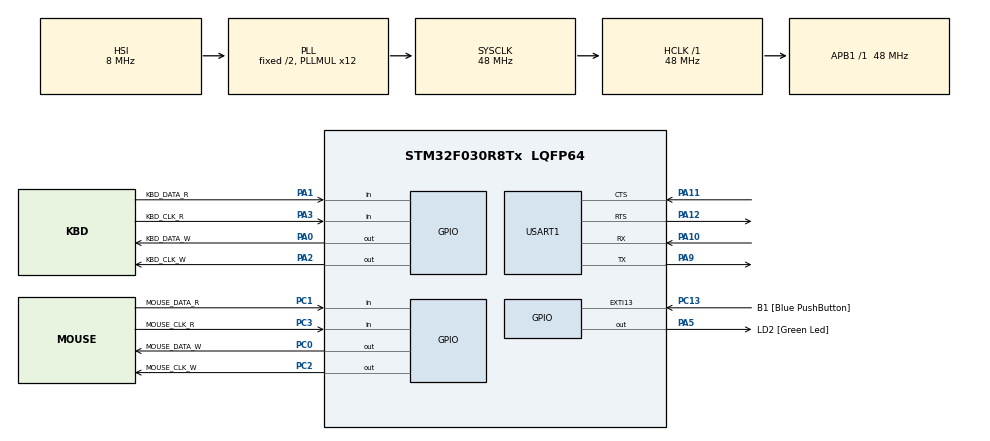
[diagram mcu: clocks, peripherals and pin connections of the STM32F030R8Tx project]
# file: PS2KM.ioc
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Mcu.Family=STM32F0
Mcu.Name=STM32F030R8Tx
Mcu.Package=LQFP64
PA0.GPIO_Label=KBD_DATA_W
PA0.Signal=GPIO_Output
PA1.GPIO_Label=KBD_DATA_R
PA1.Signal=GPIO_Input
PA10.Mode=Asynchronous
PA10.Signal=USART1_RX
PA11.Mode=CTS_RTS
PA11.Signal=USART1_CTS
PA12.Mode=CTS_RTS
PA12.Signal=USART1_RTS
PA13.Mode=Serial_Wire
PA13.Signal=SYS_SWDIO
PA14.Mode=Serial_Wire
PA14.Signal=SYS_SWCLK
PA2.GPIO_Label=KBD_CLK_W
PA2.Signal=GPIO_Output
PA3.GPIO_Label=KBD_CLK_R
PA3.Signal=GPIO_Input
PA5.GPIO_Label=LD2 [Green Led]
PA5.GPIO_Mode=GPIO_MODE_OUTPUT_PP
PA5.GPIO_PuPd=GPIO_NOPULL
PA5.GPIO_Speed=GPIO_SPEED_FREQ_LOW
PA5.Signal=GPIO_Output
PA9.Mode=Asynchronous
PA9.Signal=USART1_TX
PC0.GPIO_Label=MOUSE_DATA_W
PC0.Signal=GPIO_Output
PC1.GPIO_Label=MOUSE_DATA_R
PC1.Signal=GPIO_Input
PC13.GPIO_Label=B1 [Blue PushButton]
PC13.GPIO_ModeDefaultEXTI=GPIO_MODE_EVT_RISING
PC13.Signal=GPXTI13
PC14-OSC32_IN.Signal=RCC_OSC32_IN
PC15-OSC32_OUT.Signal=RCC_OSC32_OUT
PC2.GPIO_Label=MOUSE_CLK_W
PC2.Signal=GPIO_Output
PC3.GPIO_Label=MOUSE_CLK_R
PC3.Signal=GPIO_Input
PF0-OSC_IN.Signal=RCC_OSC_IN
PF1-OSC_OUT.Signal=RCC_OSC_OUT
ProjectManager.HeapSize=0x200
ProjectManager.StackSize=0x400
ProjectManager.TargetToolchain=EWARM
RCC.AHBFreq_Value=48000000
RCC.APB1Freq_Value=48000000
RCC.APB1TimFreq_Value=48000000
RCC.HCLKFreq_Value=48000000
RCC.PLLMUL=RCC_PLL_MUL12
RCC.SYSCLKFreq_VALUE=48000000
RCC.SYSCLKSource=RCC_SYSCLKSOURCE_PLLCLK
VP_WWDG_VS_WWDG.Mode=WWDG_Activate
board=NUCLEO-F030R8

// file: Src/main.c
/* vim:set ts=4 sw=4: */
/**
  ******************************************************************************
  * File Name          : main.c
  * Description        : Main program body
  ******************************************************************************
  *
  * COPYRIGHT(c) 2016 STMicroelectronics
  *
  * Redistribution and use in source and binary forms, with or without modification,
  * are permitted provided that the following conditions are met:
  *   1. Redistributions of source code must retain the above copyright notice,
  *      this list of conditions and the following disclaimer.
  *   2. Redistributions in binary form must reproduce the above copyright notice,
  *      this list of conditions and the following disclaimer in the documentation
  *      and/or other materials provided with the distribution.
  *   3. Neither the name of STMicroelectronics nor the names of its contributors
  *      may be used to endorse or promote products derived from this software
  *      without specific prior written permission.
  *
  * THIS SOFTWARE IS PROVIDED BY THE COPYRIGHT HOLDERS AND CONTRIBUTORS "AS IS"
  * AND ANY EXPRESS OR IMPLIED WARRANTIES, INCLUDING, BUT NOT LIMITED TO, THE
  * IMPLIED WARRANTIES OF MERCHANTABILITY AND FITNESS FOR A PARTICULAR PURPOSE ARE
  * DISCLAIMED. IN NO EVENT SHALL THE COPYRIGHT HOLDER OR CONTRIBUTORS BE LIABLE
  * FOR ANY DIRECT, INDIRECT, INCIDENTAL, SPECIAL, EXEMPLARY, OR CONSEQUENTIAL
  * DAMAGES (INCLUDING, BUT NOT LIMITED TO, PROCUREMENT OF SUBSTITUTE GOODS OR
  * SERVICES; LOSS OF USE, DATA, OR PROFITS; OR BUSINESS INTERRUPTION) HOWEVER
  * CAUSED AND ON ANY THEORY OF LIABILITY, WHETHER IN CONTRACT, STRICT LIABILITY,
  * OR TORT (INCLUDING NEGLIGENCE OR OTHERWISE) ARISING IN ANY WAY OUT OF THE USE
  * OF THIS SOFTWARE, EVEN IF ADVISED OF THE POSSIBILITY OF SUCH DAMAGE.
  *
  ******************************************************************************
  */
#include "main.h"

/* USER CODE BEGIN Includes */
uint32_t m_ticks = 0 , m_step= 0 , m_index = 0 ;
uint32_t k_ticks = 0 , k_step= 0 , k_index = 0 ;
/* USER CODE END Includes */

/* USER CODE BEGIN PV */
/* Private variables ---------------------------------------------------------*/
__IO uint8_t BlinkSpeed = 1 ;
IWDG_HandleTypeDef IwdgHandle ;
/* USER CODE END PV */

void SystemClock_Config(void) ;
void Error_Handler(void) ;
static void MX_GPIO_Init(void) ;
static void MX_USART1_UART_Init(void) ;
/* USER CODE BEGIN PFP */
/* Private function prototypes -----------------------------------------------*/

/* USER CODE END PFP */

int main(void)
{

  /* MCU Configuration----------------------------------------------------------*/

  /* Reset of all peripherals, Initializes the Flash interface and the Systick. */
  HAL_Init();

  /* Configure the system clock */
  SystemClock_Config();

  /* Initialize all configured peripherals */
  MX_GPIO_Init();
  MX_USART1_UART_Init();

  /*##-1- Check if the system has resumed from IWDG reset ####################*/
  if (__HAL_RCC_GET_FLAG(RCC_FLAG_IWDGRST) != RESET) {
  }
  else {
  }

  /*##-2- Get the LSI frequency: TIM14 is used to measure the LSI frequency ###*/
  /*  uwLsiFreq = GetLSIFrequency();  */

  /*##-3- Configure the IWDG peripheral ######################################*/
  /* Set counter reload value to obtain 250ms IWDG TimeOut.
     IWDG counter clock Frequency = LsiFreq / 32
     Counter Reload Value = 250ms / IWDG counter clock period
                          = 0.25s / (32/LsiFreq)
                          = LsiFreq / (32 * 4)
                          = LsiFreq / 128 */
  IwdgHandle.Instance = IWDG;

  IwdgHandle.Init.Prescaler = IWDG_PRESCALER_32;
  IwdgHandle.Init.Reload    = 43608 / 128;
  IwdgHandle.Init.Window    = IWDG_WINDOW_DISABLE;

  if (HAL_IWDG_Init(&IwdgHandle) != HAL_OK)
  {
    /* Initialization Error */
    Error_Handler();
  }

  /*##-4- Start the IWDG #####################################################*/
  if (HAL_IWDG_Start(&IwdgHandle) != HAL_OK)
  {
    Error_Handler();
  }

  clear_sio_env () ;
  clear_mouse_env() ;
  clear_KBD_env() ;
  /* finished reset CP210x */
  HAL_GPIO_WritePin ( GPIOB , CP210x_RESET , GPIO_PIN_SET ) ;

  /* enable clk fall interrupt ,start to receive reset(0xff) command */
  //HAL_NVIC_EnableIRQ(MOUSE_CLK_EXTI_IRQn);
  /* in 30/09/2016, I think this work should be down by clk interrupt */
  /* USER CODE END 2 */

  /* Infinite loop */
  while (1)
  {
      /* USER CODE BEGIN 3 */
#ifndef KBD_DEBUG
      mouse_ctrl() ;
#endif
      KBD_ctrl() ;
      process_command() ;
      if ( HAL_IWDG_Refresh(&IwdgHandle) != HAL_OK ) {
          /* Refresh Error */
          Error_Handler();
      }
  }
      /* USER CODE END 3 */
}

/** System Clock Configuration
*/
void SystemClock_Config(void)
{

  RCC_OscInitTypeDef RCC_OscInitStruct;
  RCC_ClkInitTypeDef RCC_ClkInitStruct;
  RCC_PeriphCLKInitTypeDef PeriphClkInit;

  RCC_OscInitStruct.OscillatorType = RCC_OSCILLATORTYPE_HSI;
  RCC_OscInitStruct.HSIState = RCC_HSI_ON;
  RCC_OscInitStruct.HSICalibrationValue = 16;
  RCC_OscInitStruct.PLL.PLLState = RCC_PLL_ON;
  RCC_OscInitStruct.PLL.PLLSource = RCC_PLLSOURCE_HSI;
  RCC_OscInitStruct.PLL.PLLMUL = RCC_PLL_MUL12;
  RCC_OscInitStruct.PLL.PREDIV = RCC_PREDIV_DIV1;
  if (HAL_RCC_OscConfig(&RCC_OscInitStruct) != HAL_OK)
  {
    Error_Handler();
  }

  RCC_ClkInitStruct.ClockType = RCC_CLOCKTYPE_HCLK|RCC_CLOCKTYPE_SYSCLK
                              |RCC_CLOCKTYPE_PCLK1;
  RCC_ClkInitStruct.SYSCLKSource = RCC_SYSCLKSOURCE_PLLCLK;
  RCC_ClkInitStruct.AHBCLKDivider = RCC_SYSCLK_DIV1;
  RCC_ClkInitStruct.APB1CLKDivider = RCC_HCLK_DIV1;
  if (HAL_RCC_ClockConfig(&RCC_ClkInitStruct, FLASH_LATENCY_1) != HAL_OK)
  {
    Error_Handler();
  }

  PeriphClkInit.PeriphClockSelection = RCC_PERIPHCLK_USART1;
  PeriphClkInit.Usart1ClockSelection = RCC_USART1CLKSOURCE_PCLK1;
  if (HAL_RCCEx_PeriphCLKConfig(&PeriphClkInit) != HAL_OK)
  {
    Error_Handler();
  }

  HAL_SYSTICK_Config(HAL_RCC_GetHCLKFreq()/100000);

  HAL_SYSTICK_CLKSourceConfig(SYSTICK_CLKSOURCE_HCLK);

  /* SysTick_IRQn interrupt configuration */
  HAL_NVIC_SetPriority(SysTick_IRQn, 0, 0);
}

/* USART1 init function */
static void MX_USART1_UART_Init(void)
{

  huart1.Instance = USART1;
  huart1.Init.BaudRate = 115200 /*38400*/ ;
  huart1.Init.WordLength = UART_WORDLENGTH_8B;
  huart1.Init.StopBits = UART_STOPBITS_1;
  huart1.Init.Parity = UART_PARITY_NONE;
  huart1.Init.Mode = UART_MODE_TX_RX;
  huart1.Init.HwFlowCtl = /*UART_HWCONTROL_NONE */UART_HWCONTROL_RTS_CTS ;
  //huart1.Init.OverSampling = UART_OVERSAMPLING_16;
  //huart1.Init.OneBitSampling = UART_ONE_BIT_SAMPLE_DISABLE;
  huart1.AdvancedInit.AdvFeatureInit = UART_ADVFEATURE_NO_INIT;
  if(HAL_UART_DeInit(&huart1) != HAL_OK)
  {
    Error_Handler();
  }
  if (HAL_UART_Init(&huart1) != HAL_OK)
  {
    Error_Handler();
  }

}

/** Configure pins as
        * Analog
        * Input
        * Output
        * EVENT_OUT
        * EXTI
*/
static void MX_GPIO_Init(void)
{

  GPIO_InitTypeDef GPIO_InitStruct;

  /* GPIO Ports Clock Enable */
  __HAL_RCC_GPIOC_CLK_ENABLE();
  __HAL_RCC_GPIOF_CLK_ENABLE();
  __HAL_RCC_GPIOA_CLK_ENABLE();

  GPIO_InitStruct.Pin = CP210x_RESET ;
  GPIO_InitStruct.Mode = GPIO_MODE_OUTPUT_PP;
  GPIO_InitStruct.Pull = GPIO_NOPULL;
  GPIO_InitStruct.Speed = GPIO_SPEED_FREQ_LOW;
  HAL_GPIO_Init(GPIOB, &GPIO_InitStruct);
  /* Reset CP210x */
  HAL_GPIO_WritePin ( GPIOB , CP210x_RESET , GPIO_PIN_RESET ) ;

  GPIO_InitStruct.Pin = CP210x_SUSPEND_N|CP210x_SUSPEND ;
  GPIO_InitStruct.Mode = GPIO_MODE_INPUT;
  GPIO_InitStruct.Pull = GPIO_NOPULL;
  HAL_GPIO_Init(GPIOB, &GPIO_InitStruct);

  /*Configure GPIO pins : MOUSE_DATA_W_Pin MOUSE_CLK_W_Pin */
  GPIO_InitStruct.Pin = MOUSE_DATA_W_Pin|MOUSE_CLK_W_Pin;
  GPIO_InitStruct.Mode = GPIO_MODE_OUTPUT_PP;
  GPIO_InitStruct.Pull = GPIO_NOPULL;
  GPIO_InitStruct.Speed = GPIO_SPEED_FREQ_LOW;
  HAL_GPIO_Init(GPIOC, &GPIO_InitStruct);
  /* release clock and data line */
  m_write_clk(GPIO_PIN_SET) ;
  m_write_data(GPIO_PIN_SET) ;

  /*Configure GPIO pins : MOUSE_DATA_R_Pin MOUSE_CLK_R_Pin */
  GPIO_InitStruct.Pin = MOUSE_DATA_R_Pin;
  GPIO_InitStruct.Mode = GPIO_MODE_INPUT;
  GPIO_InitStruct.Pull = GPIO_PULLUP;
  HAL_GPIO_Init(GPIOC, &GPIO_InitStruct);
  /* define the clk pin as a interrupt line ,but I'm not very
     convinced that it can work ,incase GPIO_MODE_INPUT is 0x0000
     so this "GPIO_MODE_INPUT | GPIO_MODE_IT_FALLING" is shit*/
  GPIO_InitStruct.Pin = MOUSE_CLK_R_Pin;
  GPIO_InitStruct.Mode = GPIO_MODE_INPUT | GPIO_MODE_IT_FALLING ;
  GPIO_InitStruct.Pull = GPIO_PULLUP;
  HAL_GPIO_Init(GPIOC, &GPIO_InitStruct);

  /*Configure GPIO pins : KBD_DATA_W_Pin KBD_CLK_W_Pin LD2_Pin */
  GPIO_InitStruct.Pin = KBD_DATA_W_Pin|KBD_CLK_W_Pin;
  GPIO_InitStruct.Mode = GPIO_MODE_OUTPUT_PP;
  GPIO_InitStruct.Pull = GPIO_NOPULL;
  GPIO_InitStruct.Speed = GPIO_SPEED_FREQ_LOW;
  HAL_GPIO_Init(GPIOA, &GPIO_InitStruct);
  k_write_clk(GPIO_PIN_SET) ;
  k_write_data(GPIO_PIN_SET) ;

  /*Configure GPIO pins : KBD_DATA_R_Pin KBD_CLK_R_Pin */
  GPIO_InitStruct.Pin = KBD_DATA_R_Pin;
  GPIO_InitStruct.Mode = GPIO_MODE_INPUT;
  GPIO_InitStruct.Pull = GPIO_PULLUP;
  HAL_GPIO_Init(GPIOA, &GPIO_InitStruct);

  GPIO_InitStruct.Pin = KBD_CLK_R_Pin;
  GPIO_InitStruct.Mode = GPIO_MODE_INPUT | GPIO_MODE_IT_FALLING ;
  GPIO_InitStruct.Pull = GPIO_PULLUP;
  HAL_GPIO_Init(GPIOA, &GPIO_InitStruct);

#if 0
  /*Configure GPIO pin Output Level */
  HAL_GPIO_WritePin(GPIOC, MOUSE_DATA_W_Pin|MOUSE_CLK_W_Pin, GPIO_PIN_RESET);

  /*Configure GPIO pin Output Level */
  HAL_GPIO_WritePin(GPIOA, KBD_DATA_W_Pin|KBD_CLK_W_Pin|LD2_Pin, GPIO_PIN_RESET);

  /* set mouse and KBD CLK line EXTI Interruptto the lowest
     priority */
  HAL_NVIC_SetPriority(KBD_CLK_EXTI_IRQn, 0x03, 0x00);
  HAL_NVIC_SetPriority(MOUSE_CLK_EXTI_IRQn, 0x03, 0x00);

  /* Enable Interrupt ,wait ...not now */
  HAL_NVIC_EnableIRQ(KBD_CLK_EXTI_IRQn);
  HAL_NVIC_EnableIRQ(MOUSE_CLK_EXTI_IRQn);
#endif

}

/* USER CODE BEGIN 4 */
void HAL_SYSTICK_Callback(void)
{
    static uint32_t m_count , k_count ;
#ifndef KBD_DEBUG
    switch ( m_trans) {     /* process mouse transfer */
        case idle:
            if ( m_read_clk() == GPIO_PIN_SET ) {
                if ( m_ticks == 0 ) {
                    switch ( m_load.content ) {
                        case standby:
                            /* clear trans environment variables */
                            m_count = 0 ;
                            break ;
                        case answer:
                        case report:
                            /* ready for device to host trans */
                            if ( m_count < m_load.load_buf[8] ) {
                                m_data.d = m_load.load_buf[m_count] ;
                                m_data.parity = 0 ;
                                /*TODO: m_count should increase after an byte has
                                 * been sent sucessful */
                                m_load.done = 0 ;
                                /* double check clk line is high */
                                m_write_clk( 1 ) ;
                                m_clk.level = HIGH ;
                                m_ticks = 4 ;
                                m_trans = start_bit ;
                            }
                            else {
                                m_count = 0 ;
                                m_load.done = 1 ;
                                m_load.load_buf[8] = 0 ;
                                /* need change out of interrupt */
                                //m_load.content = standby ;
                            }
                            break ;
                    }
                }
                else --m_ticks ;
            }
            else {
                /* host pull down the clk, communication has been inhibited*/
                m_write_data( 1 ) ;
                m_ticks = 10 ;
                m_step = 0 ;
                /*m_count = 0 ;*/
                m_trans = inhibit ;
            }
            break ;
        case inhibit:
            switch ( m_step ) {
                case 0:
                    /* m_step 0 whait for clk line keep low for at least 100 us */
                    if ( --m_ticks > 0 ) {
                        if ( m_read_clk() == GPIO_PIN_SET ) {
                            m_trans = idle ;
                            m_ticks = 0 ;
                        }
                        else if ( m_read_data() == GPIO_PIN_RESET ) {
                            m_ticks = 0 ;
                            m_step = 2 ;
                        }
                    }
                    else {
                        /*m_count = 0 ; */ /* anyway , answer & report must terminate*/
                        /* FIXME: should clean load_buf and let routine knows a
                         * transfer fail */
                        if ( m_read_clk() == GPIO_PIN_RESET ) {
                            /* check for clk keep a low level at least 100 us */
                            m_step++ ;
                        }
                        else {
                            m_trans = idle ;
                            m_ticks = 0 ;
                        }
                    }
                    break ;
                case 1:
                    /*
                     * m_step 1 wait for data line fall to low ,and clk must keep low
                     * */
                    if ( m_read_clk() == GPIO_PIN_SET ) {
                        m_trans = idle ;
                        m_ticks = 0 ;
                        /*m_step = 0 ;*/
                    }
                    else if ( m_read_data() == GPIO_PIN_RESET ) {
                        /* got a host command start condition */
                        m_step++ ;  /* next step ,wait for clk rise to high */
                    }
                    break ;
                case 2:
                    /*
                     * m_step 2 wait for clk rise to high , thus the start
                     * condition is meet
                     * */
                    m_count = 0 ;  /* anyway , answer & report must terminate*/
                    if (( m_read_clk() == GPIO_PIN_SET ) &&
                        ( m_read_data() == GPIO_PIN_RESET )) {
                        m_load.content = command ;
                        m_load.done = 0 ;
                        m_data = (data_package){ 0 ,0 , 0 ,} ;
                        m_trans = start_bit ;
                        m_ticks = 4 ;
                        m_step = 0 ;
                        m_clk.level = HIGH ;
                    }
                    break ;
                default:
                    break ;
            }
            break ;

        case start_bit:
            switch ( m_load.content ) {
                case command:
                    /*
                     * receiving an command
                     * */
                    if ( --m_ticks == 0 ) {
                        m_write_clk( 0 ) ;
                        m_clk.level = LOW ;
                        m_ticks = 4 ;
                        m_step = 0 ;
                        m_trans = significant_bit ;
                    }
                    break ;

                case answer:
                case report:
                    if( m_clk.level == HIGH ) { /* set start bit */
                        --m_ticks ;
                        if ( m_ticks == 1 ) m_write_data( 0 ) ;
                        else if ( m_ticks == 0 ) {
                            m_write_clk( 0 ) ;
                            m_clk.level = LOW ;
                            m_ticks = 4 ;
                        }
                    }
                    else {  /* data line is high means start bit fault */
                        if ( --m_ticks == 0 ) {
                            m_write_clk ( 1 ) ;
                            m_clk.level = HIGH ;
                            m_ticks = 4 ;
                            m_step = 0 ;
                            m_trans = significant_bit ;
                        }
                    }
                    break ;
                default:
                    //error condition
                    break ;
            }
            break ;

        case significant_bit:
            switch ( m_load.content ) {
                case command:
                    if ( --m_ticks == 0 ) {
                        if ( m_clk.level == LOW ) {
                            m_write_clk(1) ;
                            m_clk.level = HIGH ;
                            m_ticks = 4 ;
                            m_data.d |= (((m_read_data()) & 1 ) << m_step ) ;
                        }
                        else {
                            m_write_clk( 0 ) ;
                            m_clk.level = LOW ;
                            m_ticks = 4 ;
                            if ( ++m_step >= 8 ) {
                                m_trans = parity_bit ;
                                m_step = 0 ;
                            }
                        }
                    }
                    break ;
                case answer:
                case report:
                    if( m_clk.level == HIGH ) { /* set start bit */
                        --m_ticks ;
                        if ( m_ticks == 1 ) {
                            m_write_data ( m_data.d & 1 ) ;
                            m_data.parity += m_data.d & 1 ;
                            m_data.d >>= 1 ;
                        }
                        else if ( m_ticks == 0 ) {
                            m_write_clk( 0 ) ;
                            m_clk.level = LOW ;
                            m_ticks = 4 ;
                        }
                    }
                    else {  /* data line is high means start bit fault */
                        if ( --m_ticks == 0 ) {
                            m_write_clk ( 1 ) ;
                            m_clk.level = HIGH ;
                            m_ticks = 4 ;
                            if ( ++m_step >= 8 ) {
                                m_trans = parity_bit ;
                                m_step = 0 ;
                            }
                        }
                    }
                    break ;
                default:
                    break ;
                    //error condition
            }
            break ;

        case parity_bit:
            switch ( m_load.content ) {
                case command:
                    if ( --m_ticks == 0 ) {
                        if ( m_clk.level == LOW ) {
                            m_write_clk(1) ;
                            m_clk.level = HIGH ;
                            m_ticks = 4 ;
                            m_data.parity = m_data.d ;
                            m_data.valid = 0 ;
                            while ( m_data.parity ) {
                                m_data.parity &= ( m_data.parity-1 ) ;
                                m_data.valid++ ;
                            }
                            if ((m_data.valid & 1 ) != ((m_read_data()) & 1 )) {
                                m_data.valid = 1 ;
                            }
                            else m_data.valid = 0 ;
                        }
                        else {
                            m_write_clk( 0 ) ;
                            m_clk.level = LOW ;
                            m_ticks = 4 ;
                            m_trans = stop_bit ;
                        }
                    }
                    break ;

                case answer:
                case report:
                    if( m_clk.level == HIGH ) { /* set start bit */
                        --m_ticks ;
                        if ( m_ticks == 1 ) {
                            m_write_data (( m_data.parity & 1 ) ? 0 : 1 ) ;
                        }
                        else if ( m_ticks == 0 ) {
                            m_write_clk( 0 ) ;
                            m_clk.level = LOW ;
                            m_ticks = 4 ;
                        }
                    }
                    else {
                        if ( --m_ticks == 0 ) {
                            m_write_clk ( 1 ) ;
                            m_clk.level = HIGH ;
                            m_ticks = 4 ;
                            m_trans = stop_bit ;
                        }
                    }
                    break ;

                default:
                    //error condition
                    break ;
            }
            break ;

        case stop_bit :
            switch ( m_load.content ) {
                case command:
                    if ( m_clk.level == HIGH ) {
                        --m_ticks ;
                        if ( m_ticks == 1 ) m_write_data( 0 ) ;
                        else if ( m_ticks == 0 ) {
                            m_write_clk( 0 ) ;
                            m_clk.level = LOW ;
                            m_ticks = 4 ;
                            m_trans = ack_bit ;
                        }
                        /*TODO: Read stop bit here ,but I don`t think it was necessary
                         *      just generate clock */
                    }
                    else {
                        if ( --m_ticks == 0 ) {
                            m_write_clk( 1 ) ;
                            m_clk.level = HIGH ;
                            m_ticks = 4 ;
                        }
                    }
                    break ;

                case answer:
                case report:
                    if( m_clk.level == HIGH ) { /* set stoop bit */
                        --m_ticks ;
                        if ( m_ticks == 1 ) m_write_data( 1 ) ;
                        else if ( m_ticks == 0 ) {
                            m_write_clk( 0 ) ;
                            m_clk.level = LOW ;
                            m_ticks = 4 ;
                        }
                    }
                    else {
                        if ( --m_ticks == 0 ) {
                            m_write_clk ( 1 ) ;
                            m_clk.level = HIGH ;
                            m_ticks = 4 ;
                            m_step = 0 ;
                            m_trans = tail_bit ;
                        }
                    }
                    break ;

                default:
                    //error condition
                    break ;
            }
            break ;

        case ack_bit:
            if ( m_load.content == command ) {
                if ( m_clk.level == HIGH ) {
                    --m_ticks ;
                    if ( m_ticks == 1 ) m_write_data( 1 ) ;  /* ACK bit end here */
                    else if ( m_ticks == 0 ) {
                        m_write_clk( 0 ) ;
                        m_clk.level = LOW ;
                        m_ticks = 4 ;
                        m_trans = tail_bit ;
                    }
                }
                else {
                    if ( --m_ticks == 0 ) {
                        m_write_clk( 1 ) ;
                        m_clk.level = HIGH ;
                        m_ticks = 4 ;
                    }
                }
            }
            /* device report trans did not have ack bit */
            else {
                //error condition
            }
            break ;

        case tail_bit:
            switch ( m_load.content ) {
                case command:
                    if ( --m_ticks == 0 ) {
                        m_write_clk(1) ;    /* Release clock line */
                        m_clk.level = HIGH ;
                        m_write_data( 1 ) ;    /* Release data line */
                        /* an transfer completed */
                        m_ticks = 10 ;
                        m_trans = idle;
                        m_load.done = 1 ;
                    }
                    break ;

                case answer:
                case report:
                    if ( m_read_clk() == GPIO_PIN_SET ) {
                        m_count ++ ;
                        m_ticks = 10 ;
                        m_trans = idle /*silence*/ ;
                    }
                    break ;
                default:
                    break;
            }
            break ;
/*
        case silence:
            if ( m_read_clk() != GPIO_PIN_SET  )
            {
                m_ticks = 12 ;
            }
            if ( --m_ticks == 0 ) m_trans = idle ;
            break ;
*/
        default:
            break ;

    }
#endif
    switch ( k_trans ) {    /* process KBD transfer */
        case idle:
            if ( k_read_clk() == GPIO_PIN_SET ) {
                if ( k_ticks == 0 ) {
                    switch ( k_load.content ) {
                        case standby:
                            /* clear trans environment variables */
                            k_count = 0 ;
                            break ;
                        case answer:
                        case report:
                            /* ready for device to host trans */
                            if ( k_count < k_load.load_buf[8] ) {
                                k_data.d = k_load.load_buf[k_count] ;
                                k_data.parity = 0 ;
                                /*TODO: k_count should increase after an byte has
                                 * been sent sucessful */
                                k_load.done = 0 ;
                                /* double check clk line is high */
                                k_write_clk( 1 ) ;
                                k_clk.level = HIGH ;
                                k_ticks = 4 ;
                                k_trans = start_bit ;
                            }
                            else {
                                k_count = 0 ;
                                k_load.done = 1 ;
                                k_load.load_buf[8] = 0 ;
                                /* need change out of interrupt */
                                //k_load.content = standby ;
                            }
                            break ;
                    }
                }
                else --k_ticks ;
            }
            else {
                /* host pull down the clk, communication has been inhibited*/
                k_write_data( 1 ) ;
                k_ticks = 10 ;
                k_step = 0 ;
                /*k_count = 0 ;*/
                k_trans = inhibit ;
            }
            break ;
        case inhibit:
            switch ( k_step ) {
                case 0:
                    /* k_step 0 whait for clk line keep low for at least 100 us */
                    if ( --k_ticks > 0 ) {
                        if ( k_read_clk() == GPIO_PIN_SET ) {
                            k_trans = idle ;
                            k_ticks = 0 ;
                        }
                        else if ( k_read_data() == GPIO_PIN_RESET ) {
                            k_ticks = 0 ;
                            k_step = 2 ;
                        }
                    }
                    else {
                        /*k_count = 0 ; */ /* anyway , answer & report must terminate*/
                        /* FIXME: should clean load_buf and let routine knows a
                         * transfer fail */
                        if ( k_read_clk() == GPIO_PIN_RESET ) {
                            /* check for clk keep a low level at least 100 us */
                            k_step++ ;
                        }
                        else {
                            k_trans = idle ;
                            k_ticks = 0 ;
                        }
                    }
                    break ;
                case 1:
                    /*
                     * k_step 1 wait for data line fall to low ,and clk must keep low
                     * */
                    if ( k_read_clk() == GPIO_PIN_SET ) {
                        k_trans = idle ;
                        k_ticks = 0 ;
                        /*k_step = 0 ;*/
                    }
                    else if ( k_read_data() == GPIO_PIN_RESET ) {
                        /* got a host command start condition */
                        k_step++ ;  /* next step ,wait for clk rise to high */
                    }
                    break ;
                case 2:
                    /*
                     * k_step 2 wait for clk rise to high , thus the start
                     * condition is meet
                     * */
                    k_count = 0 ;  /* anyway , answer & report must terminate*/
                    if (( k_read_clk() == GPIO_PIN_SET ) &&
                        ( k_read_data() == GPIO_PIN_RESET )) {
                        k_load.content = command ;
                        k_load.done = 0 ;
                        k_data = (data_package){ 0 ,0 , 0 ,} ;
                        k_trans = start_bit ;
                        k_ticks = 4 ;
                        k_step = 0 ;
                        k_clk.level = HIGH ;
                    }
                    break ;
                default:
                    break ;
            }
            break ;

        case start_bit:
            switch ( k_load.content ) {
                case command:
                    /*
                     * receiving an command
                     * */
                    if ( --k_ticks == 0 ) {
                        k_write_clk( 0 ) ;
                        k_clk.level = LOW ;
                        k_ticks = 4 ;
                        k_step = 0 ;
                        k_trans = significant_bit ;
                    }
                    break ;

                case answer:
                case report:
                    if( k_clk.level == HIGH ) { /* set start bit */
                        --k_ticks ;
                        if ( k_ticks == 1 ) k_write_data( 0 ) ;
                        else if ( k_ticks == 0 ) {
                            k_write_clk( 0 ) ;
                            k_clk.level = LOW ;
                            k_ticks = 4 ;
                        }
                    }
                    else {  /* data line is high means start bit fault */
                        if ( --k_ticks == 0 ) {
                            k_write_clk ( 1 ) ;
                            k_clk.level = HIGH ;
                            k_ticks = 4 ;
                            k_step = 0 ;
                            k_trans = significant_bit ;
                        }
                    }
                    break ;
                default:
                    //error condition
                    break ;
            }
            break ;

        case significant_bit:
            switch ( k_load.content ) {
                case command:
                    if ( --k_ticks == 0 ) {
                        if ( k_clk.level == LOW ) {
                            k_write_clk(1) ;
                            k_clk.level = HIGH ;
                            k_ticks = 4 ;
                            k_data.d |= (((k_read_data()) & 1 ) << k_step ) ;
                        }
                        else {
                            k_write_clk( 0 ) ;
                            k_clk.level = LOW ;
                            k_ticks = 4 ;
                            if ( ++k_step >= 8 ) {
                                k_trans = parity_bit ;
                                k_step = 0 ;
                            }
                        }
                    }
                    break ;
                case answer:
                case report:
                    if( k_clk.level == HIGH ) { /* set start bit */
                        --k_ticks ;
                        if ( k_ticks == 1 ) {
                            k_write_data ( k_data.d & 1 ) ;
                            k_data.parity += k_data.d & 1 ;
                            k_data.d >>= 1 ;
                        }
                        else if ( k_ticks == 0 ) {
                            k_write_clk( 0 ) ;
                            k_clk.level = LOW ;
                            k_ticks = 4 ;
                        }
                    }
                    else {  /* data line is high means start bit fault */
                        if ( --k_ticks == 0 ) {
                            k_write_clk ( 1 ) ;
                            k_clk.level = HIGH ;
                            k_ticks = 4 ;
                            if ( ++k_step >= 8 ) {
                                k_trans = parity_bit ;
                                k_step = 0 ;
                            }
                        }
                    }
                    break ;
                default:
                    break ;
                    //error condition
            }
            break ;

        case parity_bit:
            switch ( k_load.content ) {
                case command:
                    if ( --k_ticks == 0 ) {
                        if ( k_clk.level == LOW ) {
                            k_write_clk(1) ;
                            k_clk.level = HIGH ;
                            k_ticks = 4 ;
                            k_data.parity = k_data.d ;
                            k_data.valid = 0 ;
                            while ( k_data.parity ) {
                                k_data.parity &= ( k_data.parity-1 ) ;
                                k_data.valid++ ;
                            }
                            if ((k_data.valid & 1 ) != ((k_read_data()) & 1 )) {
                                k_data.valid = 1 ;
                            }
                            else k_data.valid = 0 ;
                        }
                        else {
                            k_write_clk( 0 ) ;
                            k_clk.level = LOW ;
                            k_ticks = 4 ;
                            k_trans = stop_bit ;
                        }
                    }
                    break ;

                case answer:
                case report:
                    if( k_clk.level == HIGH ) { /* set start bit */
                        --k_ticks ;
                        if ( k_ticks == 1 ) {
                            k_write_data (( k_data.parity & 1 ) ? 0 : 1 ) ;
                        }
                        else if ( k_ticks == 0 ) {
                            k_write_clk( 0 ) ;
                            k_clk.level = LOW ;
                            k_ticks = 4 ;
                        }
                    }
                    else {
                        if ( --k_ticks == 0 ) {
                            k_write_clk ( 1 ) ;
                            k_clk.level = HIGH ;
                            k_ticks = 4 ;
                            k_trans = stop_bit ;
                        }
                    }
                    break ;

                default:
                    //error condition
                    break ;
            }
            break ;

        case stop_bit :
            switch ( k_load.content ) {
                case command:
                    if ( k_clk.level == HIGH ) {
                        --k_ticks ;
                        if ( k_ticks == 1 ) k_write_data( 0 ) ;
                        else if ( k_ticks == 0 ) {
                            k_write_clk( 0 ) ;
                            k_clk.level = LOW ;
                            k_ticks = 4 ;
                            k_trans = ack_bit ;
                        }
                        /*TODO: Read stop bit here ,but I don`t think it was necessary
                         *      just generate clock */
                    }
                    else {
                        if ( --k_ticks == 0 ) {
                            k_write_clk( 1 ) ;
                            k_clk.level = HIGH ;
                            k_ticks = 4 ;
                        }
                    }
                    break ;

                case answer:
                case report:
                    if( k_clk.level == HIGH ) { /* set stoop bit */
                        --k_ticks ;
                        if ( k_ticks == 1 ) k_write_data( 1 ) ;
                        else if ( k_ticks == 0 ) {
                            k_write_clk( 0 ) ;
                            k_clk.level = LOW ;
                            k_ticks = 4 ;
                        }
                    }
                    else {
                        if ( --k_ticks == 0 ) {
                            k_write_clk ( 1 ) ;
                            k_clk.level = HIGH ;
                            k_ticks = 4 ;
                            k_step = 0 ;
                            k_trans = tail_bit ;
                        }
                    }
                    break ;

                default:
                    //error condition
                    break ;
            }
            break ;

        case ack_bit:
            if ( k_load.content == command ) {
                if ( k_clk.level == HIGH ) {
                    --k_ticks ;
                    if ( k_ticks == 1 ) k_write_data( 1 ) ;  /* ACK bit end here */
                    else if ( k_ticks == 0 ) {
                        k_write_clk( 0 ) ;
                        k_clk.level = LOW ;
                        k_ticks = 4 ;
                        k_trans = tail_bit ;
                    }
                }
                else {
                    if ( --k_ticks == 0 ) {
                        k_write_clk( 1 ) ;
                        k_clk.level = HIGH ;
                        k_ticks = 4 ;
                    }
                }
            }
            /* device report trans did not have ack bit */
            else {
                //error condition
            }
            break ;

        case tail_bit:
            switch ( k_load.content ) {
                case command:
                    if ( --k_ticks == 0 ) {
                        k_write_clk(1) ;    /* Release clock line */
                        k_clk.level = HIGH ;
                        k_write_data( 1 ) ;    /* Release data line */
                        /* an transfer completed */
                        k_ticks = 40 ;
                        k_trans = idle;
                        k_load.done = 1 ;
                    }
                    break ;

                case answer:
                case report:
                    if ( k_read_clk() == GPIO_PIN_SET ) {
                        k_count ++ ;
                        k_ticks = 10 ;
                        k_trans = idle ;
                    }
                    break ;
                default:
                    break;
            }
            break ;
        default:
            break ;
    }
}
/* USER CODE END 4 */

void Error_Handler(void)
{
  while(1)
  {
  }
}

/************************ (C) COPYRIGHT STMicroelectronics *****END OF FILE****/
